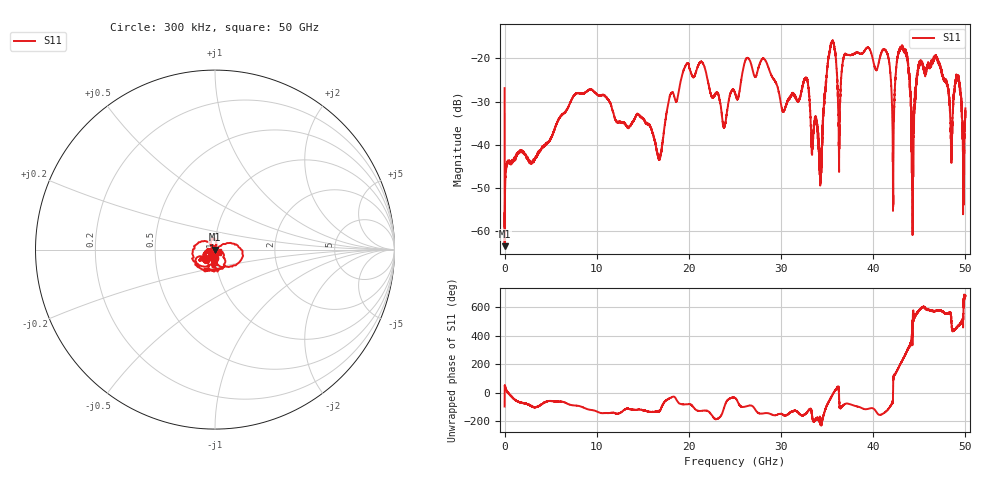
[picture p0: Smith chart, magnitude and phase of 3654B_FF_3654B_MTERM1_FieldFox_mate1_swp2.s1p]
!Created with skrf (http://scikit-rf.org).
# Hz S RI R 50.0
!freq ReS11 ImS11
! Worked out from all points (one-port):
!   10001 points, 300 kHz to 50 GHz, reference 50 ohm
!   lowest |S11| = -63.4 dB at 5.3 MHz (marker M1), VSWR 1.00, Z = 50 - j0.0535 ohm
!   |S11| at or under -10 dB: start of sweep to end of sweep
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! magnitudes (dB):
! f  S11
! 300 kHz  -26.9
! 5.3 MHz  -63.4
! 255.3 MHz  -44.4
! 6.25 GHz  -32.9
! 9.33 GHz  -27.1
! 12.5 GHz  -34.6
! 16.8 GHz  -43.0
! 18.75 GHz  -29.3
! 21.33 GHz  -20.7
! 23.8 GHz  -35.9
! 25 GHz  -28.0
! 26.37 GHz  -19.9
! 31.25 GHz  -28.2
! 32.75 GHz  -24.6
! 34.24 GHz  -49.2
! 35.4 GHz  -16.8
! 36.3 GHz  -43.4
! 37.5 GHz  -19.2
! 41.36 GHz  -18.1
! 42.15 GHz  -48.8
! 42.8 GHz  -18.2
! 43.75 GHz  -20.8
! 44.29 GHz  -41.3
! 45.01 GHz  -21.4
! 46.74 GHz  -19.4
! 48.45 GHz  -41.2
! 49.2 GHz  -25.0
! 50 GHz  -31.5
